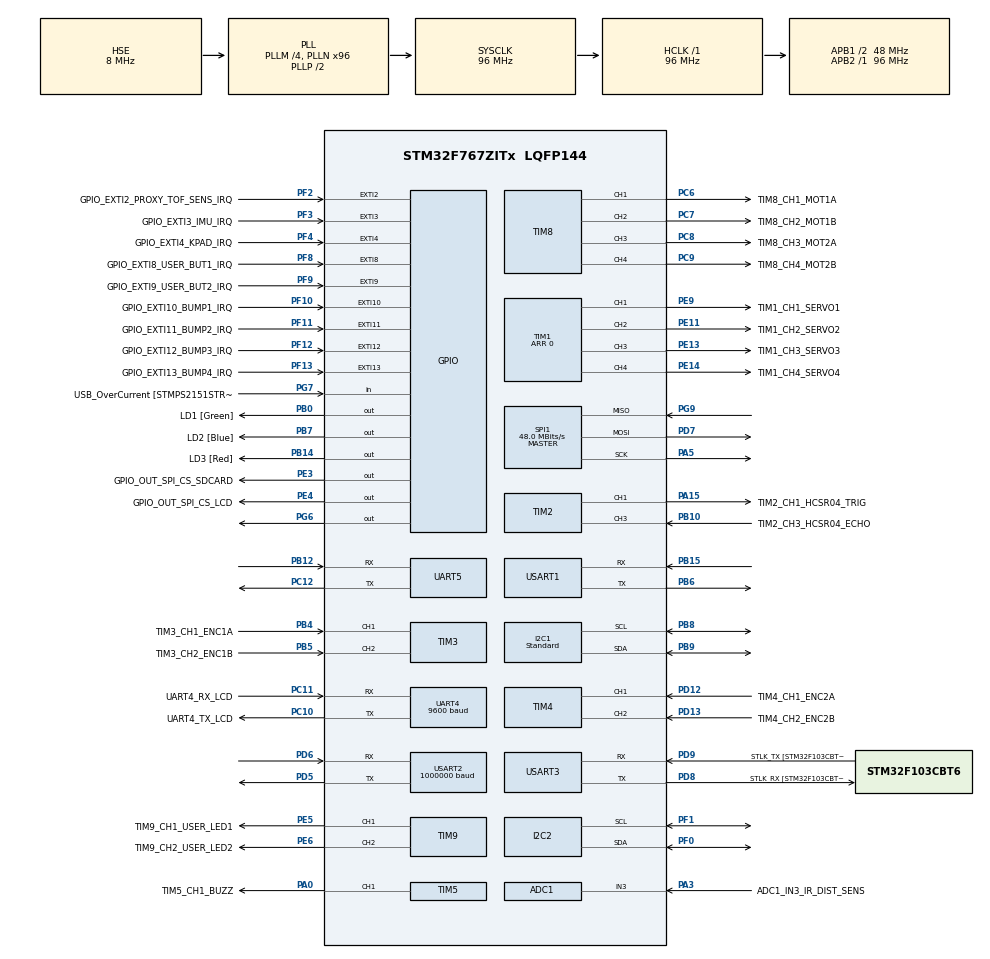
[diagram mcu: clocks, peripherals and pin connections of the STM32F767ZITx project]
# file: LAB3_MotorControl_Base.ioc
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ADC1.Channel-1\#ChannelRegularConversion=ADC_CHANNEL_3
ADC1.NbrOfConversionFlag=1
ADC1.Rank-1\#ChannelRegularConversion=1
ADC1.SamplingTime-1\#ChannelRegularConversion=ADC_SAMPLETIME_3CYCLES
ADC1.master=1
I2C1.I2C_Speed_Mode=I2C_Standard
I2C1.Timing=0x20303E5D
I2C2.Timing=0x20303E5D
Mcu.Family=STM32F7
Mcu.Name=STM32F767ZITx
Mcu.Package=LQFP144
Mcu.UserConstants=TIM3_ARR_VALUE,3839;TIM4_ARR_VALUE,3839;TIM8_PSC_VALUE,959;TIM8_ARR_VALUE,399;TIM6_PSC_VALUE,959;TIM6_ARR_VALUE,999;TIM1_PSC_VALUE,959;TIM1_ARR_VALUE,1999
NVIC.PriorityGroup=NVIC_PRIORITYGROUP_4
NVIC.TIM4_IRQn=true\:0\:0\:false\:false\:true\:true\:true\:true
NVIC.TIM6_DAC_IRQn=true\:1\:0\:true\:false\:true\:true\:true\:true
PA0/WKUP.GPIO_Label=TIM5_CH1_BUZZ
PA0/WKUP.Signal=S_TIM5_CH1
PA1.GPIO_Label=RMII_REF_CLK [LAN8742A-CZ-TR_REFCLK0]
PA1.Signal=ETH_REF_CLK
PA10.GPIO_Label=USB_ID
PA10.Signal=USB_OTG_FS_ID
PA11.GPIO_Label=USB_DM
PA11.Signal=USB_OTG_FS_DM
PA12.GPIO_Label=USB_DP
PA12.Signal=USB_OTG_FS_DP
PA13.GPIO_Label=TMS
PA13.Mode=Serial_Wire
PA13.Signal=SYS_JTMS-SWDIO
PA14.GPIO_Label=TCK
PA14.Mode=Serial_Wire
PA14.Signal=SYS_JTCK-SWCLK
PA15.GPIO_Label=TIM2_CH1_HCSR04_TRIG
PA15.Signal=S_TIM2_CH1_ETR
PA2.GPIO_Label=RMII_MDIO [LAN8742A-CZ-TR_MDIO]
PA2.Signal=ETH_MDIO
PA3.GPIO_Label=ADC1_IN3_IR_DIST_SENS
PA3.Signal=ADCx_IN3
PA5.Mode=Full_Duplex_Master
PA5.Signal=SPI1_SCK
PA7.GPIO_Label=RMII_CRS_DV [LAN8742A-CZ-TR_CRS_DV]
PA7.Signal=ETH_CRS_DV
PA8.GPIO_Label=USB_SOF [TP1]
PA8.Signal=USB_OTG_FS_SOF
PA9.GPIO_Label=USB_VBUS
PA9.Signal=USB_OTG_FS_VBUS
PB0.GPIO_Label=LD1 [Green]
PB0.Signal=GPIO_Output
PB10.GPIO_Label=TIM2_CH3_HCSR04_ECHO
PB10.Signal=S_TIM2_CH3
PB12.Mode=Asynchronous
PB12.Signal=UART5_RX
PB13.GPIO_Label=RMII_TXD1 [LAN8742A-CZ-TR_TXD1]
PB13.Signal=ETH_TXD1
PB14.GPIO_Label=LD3 [Red]
PB14.Signal=GPIO_Output
PB15.Mode=Asynchronous
PB15.Signal=USART1_RX
PB3.GPIO_Label=SWO
PB3.Signal=SYS_JTDO-SWO
PB4.GPIO_Label=TIM3_CH1_ENC1A
PB4.Signal=S_TIM3_CH1
PB5.GPIO_Label=TIM3_CH2_ENC1B
PB5.Signal=S_TIM3_CH2
PB6.Mode=Asynchronous
PB6.Signal=USART1_TX
PB7.GPIO_Label=LD2 [Blue]
PB7.Signal=GPIO_Output
PB8.GPIO_Pu=GPIO_PULLUP
PB8.Mode=I2C
PB8.Signal=I2C1_SCL
PB9.GPIO_Pu=GPIO_PULLUP
PB9.Mode=I2C
PB9.Signal=I2C1_SDA
PC1.GPIO_Label=RMII_MDC [LAN8742A-CZ-TR_MDC]
PC1.Signal=ETH_MDC
PC10.GPIO_Label=UART4_TX_LCD
PC10.Mode=Asynchronous
PC10.Signal=UART4_TX
PC11.GPIO_Label=UART4_RX_LCD
PC11.Mode=Asynchronous
PC11.Signal=UART4_RX
PC12.Mode=Asynchronous
PC12.Signal=UART5_TX
PC14/OSC32_IN.Mode=LSE-External-Oscillator
PC14/OSC32_IN.Signal=RCC_OSC32_IN
PC15/OSC32_OUT.Mode=LSE-External-Oscillator
PC15/OSC32_OUT.Signal=RCC_OSC32_OUT
PC4.GPIO_Label=RMII_RXD0 [LAN8742A-CZ-TR_RXD0]
PC4.Signal=ETH_RXD0
PC5.GPIO_Label=RMII_RXD1 [LAN8742A-CZ-TR_RXD1]
PC5.Signal=ETH_RXD1
PC6.GPIO_Label=TIM8_CH1_MOT1A
PC6.Signal=S_TIM8_CH1
PC7.GPIO_Label=TIM8_CH2_MOT1B
PC7.Signal=S_TIM8_CH2
PC8.GPIO_Label=TIM8_CH3_MOT2A
PC8.Signal=S_TIM8_CH3
PC9.GPIO_Label=TIM8_CH4_MOT2B
PC9.Signal=S_TIM8_CH4
PD12.GPIO_Label=TIM4_CH1_ENC2A
PD12.Signal=S_TIM4_CH1
PD13.GPIO_Label=TIM4_CH2_ENC2B
PD13.Signal=S_TIM4_CH2
PD5.Mode=Asynchronous
PD5.Signal=USART2_TX
PD6.Mode=Asynchronous
PD6.Signal=USART2_RX
PD7.Mode=Full_Duplex_Master
PD7.Signal=SPI1_MOSI
PD8.GPIO_Label=STLK_RX [STM32F103CBT6_PA3]
PD8.Mode=Asynchronous
PD8.Signal=USART3_TX
PD9.GPIO_Label=STLK_TX [STM32F103CBT6_PA2]
PD9.Mode=Asynchronous
PD9.Signal=USART3_RX
PE11.GPIO_Label=TIM1_CH2_SERVO2
PE11.Signal=S_TIM1_CH2
PE13.GPIO_Label=TIM1_CH3_SERVO3
PE13.Signal=S_TIM1_CH3
PE14.GPIO_Label=TIM1_CH4_SERVO4
PE14.Signal=S_TIM1_CH4
PE3.GPIO_Label=GPIO_OUT_SPI_CS_SDCARD
PE3.Signal=GPIO_Output
PE4.GPIO_Label=GPIO_OUT_SPI_CS_LCD
PE4.Signal=GPIO_Output
PE5.GPIO_Label=TIM9_CH1_USER_LED1
PE5.Signal=S_TIM9_CH1
PE6.GPIO_Label=TIM9_CH2_USER_LED2
PE6.Signal=S_TIM9_CH2
PE9.GPIO_Label=TIM1_CH1_SERVO1
PE9.Signal=S_TIM1_CH1
PF0.GPIO_Pu=GPIO_PULLUP
PF0.Mode=I2C
PF0.Signal=I2C2_SDA
PF1.GPIO_Pu=GPIO_PULLUP
PF1.Mode=I2C
PF1.Signal=I2C2_SCL
PF10.GPIO_Label=GPIO_EXTI10_BUMP1_IRQ
PF10.Signal=GPXTI10
PF11.GPIO_Label=GPIO_EXTI11_BUMP2_IRQ
PF11.Signal=GPXTI11
PF12.GPIO_Label=GPIO_EXTI12_BUMP3_IRQ
PF12.Signal=GPXTI12
PF13.GPIO_Label=GPIO_EXTI13_BUMP4_IRQ
PF13.Signal=GPXTI13
PF2.GPIO_Label=GPIO_EXTI2_PROXY_TOF_SENS_IRQ
PF2.Signal=GPXTI2
PF3.GPIO_Label=GPIO_EXTI3_IMU_IRQ
PF3.Signal=GPXTI3
PF4.GPIO_Label=GPIO_EXTI4_KPAD_IRQ
PF4.Signal=GPXTI4
PF8.GPIO_Label=GPIO_EXTI8_USER_BUT1_IRQ
PF8.Signal=GPXTI8
PF9.GPIO_Label=GPIO_EXTI9_USER_BUT2_IRQ
PF9.Signal=GPXTI9
PG11.GPIO_Label=RMII_TX_EN [LAN8742A-CZ-TR_TXEN]
PG11.Signal=ETH_TX_EN
PG13.GPIO_Label=RMII_TXD0 [LAN8742A-CZ-TR_TXD0]
PG13.Signal=ETH_TXD0
PG6.Signal=GPIO_Output
PG7.GPIO_Label=USB_OverCurrent [STMPS2151STR_FAULT]
PG7.Signal=GPIO_Input
PG9.Mode=Full_Duplex_Master
PG9.Signal=SPI1_MISO
PH0/OSC_IN.GPIO_Label=MCO [STM32F103CBT6_PA8]
PH0/OSC_IN.Mode=HSE-External-Clock-Source
PH0/OSC_IN.Signal=RCC_OSC_IN
PH1/OSC_OUT.Mode=HSE-External-Clock-Source
PH1/OSC_OUT.Signal=RCC_OSC_OUT
ProjectManager.HeapSize=0x200
ProjectManager.StackSize=0x400
ProjectManager.TargetToolchain=STM32CubeIDE
RCC.48MHZClocksFreq_Value=24000000
RCC.AHBFreq_Value=96000000
RCC.APB1CLKDivider=RCC_HCLK_DIV2
RCC.APB1Freq_Value=48000000
RCC.APB1TimFreq_Value=96000000
RCC.APB2Freq_Value=96000000
RCC.APB2TimFreq_Value=96000000
RCC.CortexFreq_Value=96000000
RCC.HCLKFreq_Value=96000000
RCC.HSE_VALUE=8000000
RCC.HSI_VALUE=16000000
RCC.PLLM=4
RCC.PLLMUL=RCC_PLL_MUL9
RCC.PLLN=96
RCC.PLLQ=4
RCC.PLLSourceVirtual=RCC_PLLSOURCE_HSE
RCC.PRESCALERUSB=RCC_USBCLKSOURCE_PLL_DIV1_5
RCC.SYSCLKFreq_VALUE=96000000
RCC.SYSCLKSource=RCC_SYSCLKSOURCE_PLLCLK
RCC.SYSCLKSourceVirtual=RCC_SYSCLKSOURCE_PLLCLK
RCC.USBFreq_Value=48000000
RCC.VCOOutputFreq_Value=192000000
SH.ADCx_IN3.0=ADC1_IN3,IN3
SH.S_TIM1_CH1.0=TIM1_CH1,Forced Output1 CH1
SH.S_TIM1_CH2.0=TIM1_CH2,Forced Output2 CH2
SH.S_TIM1_CH3.0=TIM1_CH3,Forced Output3 CH3
SH.S_TIM1_CH4.0=TIM1_CH4,Forced Output4 CH4
SH.S_TIM2_CH1_ETR.0=TIM2_CH1,PWM Generation1 CH1
SH.S_TIM2_CH3.0=TIM2_CH3,Input_Capture3_from_TI3
SH.S_TIM3_CH1.0=TIM3_CH1,Encoder_Interface
SH.S_TIM3_CH2.0=TIM3_CH2,Encoder_Interface
SH.S_TIM4_CH1.0=TIM4_CH1,Encoder_Interface
SH.S_TIM4_CH2.0=TIM4_CH2,Encoder_Interface
SH.S_TIM5_CH1.0=TIM5_CH1,PWM Generation1 CH1
SH.S_TIM8_CH1.0=TIM8_CH1,PWM Generation1 CH1
SH.S_TIM8_CH2.0=TIM8_CH2,PWM Generation2 CH2
SH.S_TIM8_CH3.0=TIM8_CH3,PWM Generation3 CH3
SH.S_TIM8_CH4.0=TIM8_CH4,PWM Generation4 CH4
SH.S_TIM9_CH1.0=TIM9_CH1,PWM Generation1 CH1
SH.S_TIM9_CH2.0=TIM9_CH2,PWM Generation2 CH2
SPI1.CalculateBaudRate=48.0 MBits/s
SPI1.Direction=SPI_DIRECTION_2LINES
SPI1.Mode=SPI_MODE_MASTER
SPI1.VirtualType=VM_MASTER
TIM1.Channel-Forced\ Output1\ CH1=TIM_CHANNEL_1
TIM1.Channel-Forced\ Output2\ CH2=TIM_CHANNEL_2
TIM1.Channel-Forced\ Output3\ CH3=TIM_CHANNEL_3
TIM1.Channel-Forced\ Output4\ CH4=TIM_CHANNEL_4
TIM1.OCPolarity_1=TIM_OCPOLARITY_LOW
TIM1.OCPolarity_2=TIM_OCPOLARITY_LOW
TIM1.OCPolarity_3=TIM_OCPOLARITY_LOW
TIM1.OCPolarity_4=TIM_OCPOLARITY_LOW
TIM1.Period=0
TIM2.Channel-Input_Capture3_from_TI3=TIM_CHANNEL_3
TIM2.Channel-PWM\ Generation1\ CH1=TIM_CHANNEL_1
TIM3.EncoderMode=TIM_ENCODERMODE_TI12
TIM3.IC1Filter=15
TIM3.IC2Filter=15
TIM3.Period=TIM3_ARR_VALUE
TIM4.EncoderMode=TIM_ENCODERMODE_TI12
TIM4.IC1Filter=15
TIM4.IC2Filter=15
TIM4.Period=TIM4_ARR_VALUE
TIM5.Channel-PWM\ Generation1\ CH1=TIM_CHANNEL_1
TIM6.Period=TIM6_ARR_VALUE
TIM6.Prescaler=TIM6_PSC_VALUE
TIM8.Channel-PWM\ Generation1\ CH1=TIM_CHANNEL_1
TIM8.Channel-PWM\ Generation2\ CH2=TIM_CHANNEL_2
TIM8.Channel-PWM\ Generation3\ CH3=TIM_CHANNEL_3
TIM8.Channel-PWM\ Generation4\ CH4=TIM_CHANNEL_4
TIM8.Period=TIM8_ARR_VALUE
TIM8.Prescaler=TIM8_PSC_VALUE
TIM9.Channel-PWM\ Generation1\ CH1=TIM_CHANNEL_1
TIM9.Channel-PWM\ Generation2\ CH2=TIM_CHANNEL_2
UART4.BaudRate=9600
USART1.VirtualMode-Asynchronous=VM_ASYNC
USART2.BaudRate=1000000
USART2.VirtualMode-Asynchronous=VM_ASYNC
USART3.VirtualMode-Asynchronous=VM_ASYNC
VP_TIM1_VS_ClockSourceINT.Mode=Internal
VP_TIM2_VS_ClockSourceINT.Mode=Internal
VP_TIM5_VS_ClockSourceINT.Mode=Internal
VP_TIM6_VS_ClockSourceINT.Mode=Enable_Timer
VP_TIM8_VS_ClockSourceINT.Mode=Internal
board=NUCLEO-F767ZI

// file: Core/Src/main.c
/* USER CODE BEGIN Header */
/**
  ******************************************************************************
  * @file           : main.c
  * @brief          : Main program body
  ******************************************************************************
  * @attention
  *
  * <h2><center>&copy; Copyright (c) 2021 STMicroelectronics.
  * All rights reserved.</center></h2>
  *
  * This software component is licensed by ST under BSD 3-Clause license,
  * the "License"; You may not use this file except in compliance with the
  * License. You may obtain a copy of the License at:
  *                        opensource.org/licenses/BSD-3-Clause
  *
  ******************************************************************************
  */
/* USER CODE END Header */
#include "main.h"

/* USER CODE BEGIN Includes */
#include <math.h>
#include <stdbool.h>
#include <stdlib.h>
#include "ertc-datalogger.h"
#include "SX1509_Registers.h"
/* USER CODE END Includes */

/* USER CODE BEGIN PD */
//#define	HAL_TIMEOUT		1
#define TS	0.01

#define VBATT	8.0
#define V2DUTY	((float)(TIM8_ARR_VALUE+1)/VBATT)
#define DUTY2V	((float)VBATT/(TIM8_ARR_VALUE+1))

#define RPM2RADS	2.0*M_PI/60.0
/* USER CODE END PD */

ADC_HandleTypeDef hadc1;

I2C_HandleTypeDef hi2c1;
I2C_HandleTypeDef hi2c2;

SPI_HandleTypeDef hspi1;

TIM_HandleTypeDef htim1;
TIM_HandleTypeDef htim2;
TIM_HandleTypeDef htim3;
TIM_HandleTypeDef htim4;
TIM_HandleTypeDef htim5;
TIM_HandleTypeDef htim6;
TIM_HandleTypeDef htim8;
TIM_HandleTypeDef htim9;

UART_HandleTypeDef huart4;
UART_HandleTypeDef huart5;
UART_HandleTypeDef huart1;
UART_HandleTypeDef huart2;
UART_HandleTypeDef huart3;

/* USER CODE BEGIN PV */
struct ertc_dlog logger;

uint16_t SX1509_I2C_ADDR1 = 0x3E;
uint16_t SX1509_I2C_ADDR2 = 0x3F;
uint32_t I2C_TIMEOUT = 200;

const char keypadLayout[4][4] = {
    {'*', '0', '#', 'D'},
    {'7', '8', '9', 'C'},
    {'4', '5', '6', 'B'},
    {'1', '2', '3', 'A'}};
/* USER CODE END PV */

void SystemClock_Config(void);
static void MX_GPIO_Init(void);
static void MX_USART3_UART_Init(void);
static void MX_ADC1_Init(void);
static void MX_I2C1_Init(void);
static void MX_I2C2_Init(void);
static void MX_SPI1_Init(void);
static void MX_TIM1_Init(void);
static void MX_TIM2_Init(void);
static void MX_TIM3_Init(void);
static void MX_TIM4_Init(void);
static void MX_TIM5_Init(void);
static void MX_TIM8_Init(void);
static void MX_UART4_Init(void);
static void MX_UART5_Init(void);
static void MX_USART1_UART_Init(void);
static void MX_USART2_UART_Init(void);
static void MX_TIM9_Init(void);
static void MX_TIM6_Init(void);
/* USER CODE BEGIN PFP */
extern void initialise_monitor_handles(void);
/* USER CODE END PFP */

/* USER CODE BEGIN 0 */

/* ---------------------------------------- */
/*      DYNAMIC SPEED CONTROL SECTION       */
/* ---------------------------------------- */

float reference = 0.0;
int values[5];					// maximum 5 digits, i.e. all values from 0 to 99999
int counter = 0;				// counter for the values array

uint8_t extractIndex(uint8_t byte_sequence) {
	int k = 0;
	while ((byte_sequence & 1) != 1) {
		byte_sequence >>= 1;
		k++;
	}

	return k;
}

void HAL_GPIO_EXTI_Callback(uint16_t GPIO_Pin) {

	//printf("Interrupt on pin (%d).\n", GPIO_Pin);
	/* your code here */

	if (GPIO_Pin == GPIO_EXTI4_KPAD_IRQ_Pin) {

		uint8_t data_column;
		uint8_t data_row;
		HAL_StatusTypeDef status;

		// Read key data
		status = HAL_I2C_Mem_Read(&hi2c1, SX1509_I2C_ADDR2 << 1, REG_KEY_DATA_1, 1, &data_column, 1, I2C_TIMEOUT);
		if (status != HAL_OK) {
			//printf("I2C communication error (%X).\n", status);
			return;
		}

		status = HAL_I2C_Mem_Read(&hi2c1, SX1509_I2C_ADDR2 << 1, REG_KEY_DATA_2, 1, &data_row, 1, I2C_TIMEOUT);
		if (status != HAL_OK) {
			//printf("I2C communication error (%X).\n", status);
			return;
		}

		// Convert key data into indexes
		uint8_t col_index = extractIndex(~data_column);
		uint8_t row_index = extractIndex(~data_row);

		char key = keypadLayout[row_index][col_index];

		//printf("The following button has been pressed: (%c).\n", key);

		if (key >= '0' && key <= '9' && counter < 5) {			// if the key is not # and the maximum number of digits is not reached
			values[counter] = key - '0';
			counter++;
		} else if (key == '#'){									// if the key is #
			int final_speed = 0;
			for (int i = 0; i < counter; i++) {
				int power = pow(10, counter-i-1);
				final_speed += values[i]*power;					// compute the final value using powers of 10
			}
			//printf("Final speed: %d rpm.\n", final_speed);
			counter = 0;
			for (int i = 0; i < 5; i++)
				values[i] = 0;

			reference = final_speed;
		} else {												// if the maximum number of digits is reached
			//printf("Maximum number of digits reached. Please insert another sequence of numbers.\n");
			counter = 0;
			for (int i = 0; i < 5; i++)
				values[i] = 0;
		}
	}

}

/* ---------------------------------------- */
/*          MOTORS CONTROL SECTION          */
/* ---------------------------------------- */

//const float Kp = 0.489;
//const float Ki = 9.033;

//const float Kp = 0.2;
//const float Ki = 3.14;

const float Kp = 0.489;		// 1
const float Ki = 3.14;
//const float Ki = 2.64;

//const float Kp = 0.522;		// 2
//const float Ki = 5.120;

//const float Kp = 0.294; 	// LAST SIMULATION 3
//const float Ki = 3.388;

//const float Kp = 0.412; 	// LAST SIMULATION
//const float Ki = 4.472;

const float Kw = 8.0; 		// 3,25,50,100

struct datalog {
	float reference_r, speed_r, error_r;
	float reference_l, speed_l, error_l;
} data;

float compute_speed(TIM_HandleTypeDef* htim, uint32_t* TIM_PreviousCount, uint32_t TIM_ARR_VALUE) {

	uint32_t TIM_CurrentCount = __HAL_TIM_GET_COUNTER(htim);
	int32_t TIM_DiffCount;

	// evaluate increment of TIM counter from previous count
	if (__HAL_TIM_IS_TIM_COUNTING_DOWN(htim)) {
		// check for counter underflow
		if (TIM_CurrentCount <= *TIM_PreviousCount)
			TIM_DiffCount = TIM_CurrentCount - *TIM_PreviousCount;
		else
			TIM_DiffCount = -((TIM_ARR_VALUE+1) - TIM_CurrentCount) - *TIM_PreviousCount;
	} else {
		// check for counter overflow
		if (TIM_CurrentCount >= *TIM_PreviousCount)
			TIM_DiffCount = TIM_CurrentCount - *TIM_PreviousCount;
		else
			TIM_DiffCount = ((TIM_ARR_VALUE+1) - *TIM_PreviousCount) + TIM_CurrentCount;
	}

	*TIM_PreviousCount = TIM_CurrentCount;

    //	Speed in RAD/S
	float speed_rads = ((2*M_PI*120)/(3840.0*TS))*(float)TIM_DiffCount;

    //	Speed in RPM
	float speed_rpm = speed_rads/RPM2RADS;

    return speed_rpm;
}

float saturate(float u, float min, float max) {
	if (u > max) return max;
	if (u < min) return min;
	return u;
}

float PI(float error, float* u_int, bool antiwindup) {
	float u_p = Kp*error;
	*u_int += Ki*error*TS;

	float u = u_p + *u_int;

	if (antiwindup) {
		float saturation = u - saturate(u, 0.1-VBATT, VBATT-0.1);
		*u_int -= saturation*Kw*TS;
		u = u_p + *u_int;
	}

	return saturate(u, 0.1-VBATT, VBATT-0.1);
}

void set_motor_speed(TIM_HandleTypeDef* htim, uint32_t channel_1, uint32_t channel_2, int32_t duty, bool fwd_coast) {
    if (duty >= 0) {
        if (fwd_coast) {
            // alternate between forward and coast
            __HAL_TIM_SET_COMPARE(htim, channel_1, (uint32_t)duty);
            __HAL_TIM_SET_COMPARE(htim, channel_2, 0);
        } else {
            // alternate between forward and brake, TIM8_ARR_VALUE is a define
            __HAL_TIM_SET_COMPARE(htim, channel_1, (uint32_t)TIM8_ARR_VALUE);
            __HAL_TIM_SET_COMPARE(htim, channel_2, TIM8_ARR_VALUE - duty);
        }
    } else { // rotate backward
        if (fwd_coast) {
            __HAL_TIM_SET_COMPARE(htim, channel_1, 0);
            __HAL_TIM_SET_COMPARE(htim, channel_2, (uint32_t) - duty);
        } else {
            __HAL_TIM_SET_COMPARE(htim, channel_1, TIM8_ARR_VALUE + duty);
            __HAL_TIM_SET_COMPARE(htim, channel_2, (uint32_t)TIM8_ARR_VALUE);
        }
    }
}

void HAL_TIM_PeriodElapsedCallback(TIM_HandleTypeDef *htim) {
	/* Speed ctrl routine */
	if(htim->Instance == TIM6) {
		// ENCODER READING
		static uint32_t TIM3_PreviousCount = 0;
		float speed_r = compute_speed(&htim3, &TIM3_PreviousCount, TIM3_ARR_VALUE);

		static uint32_t TIM4_PreviousCount = 0;
		float speed_l = compute_speed(&htim4, &TIM4_PreviousCount, TIM4_ARR_VALUE);

		// SIGNAL ERROR
		float error_r = reference - speed_r;
		float error_l = reference - speed_l;

		// CONTROLLER INPUT
		static float u_int_r = 0;
		float u_r = PI(error_r, &u_int_r, true);

		static float u_int_l = 0;
		float u_l = PI(error_l, &u_int_l, true);

		int32_t duty_r = (int32_t)V2DUTY*u_r;
		int32_t duty_l = (int32_t)V2DUTY*u_l;

		// SETTING THE MOTOR SPEED
		set_motor_speed(&htim8, TIM_CHANNEL_1, TIM_CHANNEL_2, duty_r, false);
		set_motor_speed(&htim8, TIM_CHANNEL_3, TIM_CHANNEL_4, duty_l, false);

		// LOGGING
		data.reference_r = reference;
		data.speed_r = speed_r;
		data.error_r = error_r;
		data.reference_l = reference;
		data.speed_l = speed_l;
		data.error_l = error_l;

		ertc_dlog_send(&logger, &data, sizeof(data));
	}
}

/* USER CODE END 0 */

int main(void)
{
  /* USER CODE BEGIN 1 */
  uint8_t data;
  /* USER CODE END 1 */

  /* MCU Configuration--------------------------------------------------------*/

  /* Reset of all peripherals, Initializes the Flash interface and the Systick. */
  HAL_Init();

  /* Configure the system clock */
  SystemClock_Config();

  /* USER CODE BEGIN SysInit */
  initialise_monitor_handles();
  /* USER CODE END SysInit */

  /* Initialize all configured peripherals */
  MX_GPIO_Init();
  MX_USART3_UART_Init();
  MX_ADC1_Init();
  MX_I2C1_Init();
  MX_I2C2_Init();
  MX_SPI1_Init();
  MX_TIM1_Init();
  MX_TIM2_Init();
  MX_TIM3_Init();
  MX_TIM4_Init();
  MX_TIM5_Init();
  MX_TIM8_Init();
  MX_UART4_Init();
  MX_UART5_Init();
  MX_USART1_UART_Init();
  MX_USART2_UART_Init();
  MX_TIM9_Init();
  MX_TIM6_Init();
  /* USER CODE BEGIN 2 */
  /* Disable LCD SPI SS */

  HAL_GPIO_WritePin(GPIO_OUT_SPI_CS_LCD_GPIO_Port, GPIO_OUT_SPI_CS_LCD_Pin, GPIO_PIN_SET);

  /* Disable EXTI4_IRQ during SX1509 initialization */
  HAL_NVIC_DisableIRQ(EXTI4_IRQn);

  /* Software reset */
  data = 0x12;
  HAL_I2C_Mem_Write(&hi2c1, SX1509_I2C_ADDR2 << 1, REG_RESET, 1, &data, 1, I2C_TIMEOUT);

  data = 0x34;
  HAL_I2C_Mem_Write(&hi2c1, SX1509_I2C_ADDR2 << 1, REG_RESET, 1, &data, 1, I2C_TIMEOUT);

  HAL_Delay(100);

  /* Set KeyPad scanning engine */

  /* Set RegClock to 0x40 (enable internal oscillator; 2MHz freq) */
  data = 0x40;
  HAL_I2C_Mem_Write(&hi2c1, SX1509_I2C_ADDR2 << 1, REG_CLOCK, 1, &data, 1, I2C_TIMEOUT);

  /* Set Bank A RegDir to 0xF0 (IO[0:3] as out) */
  data = 0xF0;
  HAL_I2C_Mem_Write(&hi2c1, SX1509_I2C_ADDR2 << 1, REG_DIR_A, 1, &data, 1, I2C_TIMEOUT);

  /* Set Bank B RegDir to 0x0F (IO[8:11] as in) */
  data = 0x0F;
  HAL_I2C_Mem_Write(&hi2c1, SX1509_I2C_ADDR2 << 1, REG_DIR_B, 1, &data, 1, I2C_TIMEOUT);

  /* Set Bank A RegOpenDrain to 0x0F (IO[0:3] as open-drain outputs) */
  data = 0x0F;
  HAL_I2C_Mem_Write(&hi2c1, SX1509_I2C_ADDR2 << 1, REG_OPEN_DRAIN_A, 1, &data, 1, I2C_TIMEOUT);

  /* Set Bank B RegPullup to 0x0F (pull-ups enabled on inputs IO[8:11]) */
  data = 0x0F;
  HAL_I2C_Mem_Write(&hi2c1, SX1509_I2C_ADDR2 << 1, REG_PULL_UP_B, 1, &data, 1, I2C_TIMEOUT);

  /* Set Bank B RegDebounceEnable to 0x0F (enable debouncing on IO[8:11]) */
  data = 0x0F;
  HAL_I2C_Mem_Write(&hi2c1, SX1509_I2C_ADDR2 << 1, REG_DEBOUNCE_ENABLE_B, 1, &data, 1, I2C_TIMEOUT);

  /* Set RegDebounceConfig to 0x05 (16ms debounce time) */
  data = 0x05;
  HAL_I2C_Mem_Write(&hi2c1, SX1509_I2C_ADDR2 << 1, REG_DEBOUNCE_CONFIG, 1, &data, 1, I2C_TIMEOUT);

  /* Set RegKeyConfig1 to 0x7D (8s auto-sleep; 32ms scan time per row) */
  data = 0x7D;
  HAL_I2C_Mem_Write(&hi2c1, SX1509_I2C_ADDR2 << 1, REG_KEY_CONFIG_1, 1, &data, 1, I2C_TIMEOUT);

  /* Set RegKeyConfig2 to 0x1B (4 rows; 4 columns) */
  data = 0x1B;
  HAL_I2C_Mem_Write(&hi2c1, SX1509_I2C_ADDR2 << 1, REG_KEY_CONFIG_2, 1, &data, 1, I2C_TIMEOUT);

  /* Enable EXTI4_IRQ after SX1509 initialization */
  HAL_Delay(100);
  HAL_NVIC_EnableIRQ(EXTI4_IRQn);

  /* Disable EXTI2_IRQ during SX1509 initialization */
  HAL_NVIC_DisableIRQ(EXTI2_IRQn);

  /* Software reset */
  data = 0x12;
  HAL_I2C_Mem_Write(&hi2c1, SX1509_I2C_ADDR1 << 1, REG_RESET, 1, &data, 1, I2C_TIMEOUT);

  data = 0x34;
  HAL_I2C_Mem_Write(&hi2c1, SX1509_I2C_ADDR1 << 1, REG_RESET, 1, &data, 1, I2C_TIMEOUT);

  HAL_Delay(100);

  /* Set RegDirA to 0xFF (all IO of Bank A configured as inputs) */
  data = 0xFF; // 0 = out; 1 = in
  HAL_I2C_Mem_Write(&hi2c1, SX1509_I2C_ADDR1 << 1, REG_DIR_A, 1, &data, 1, I2C_TIMEOUT);

  /* Set RegDirB to 0xFF (all IO of Bank B configured as inputs) */
  data = 0xFF; // 0 = out; 1 = in
  HAL_I2C_Mem_Write(&hi2c1, SX1509_I2C_ADDR1 << 1, REG_DIR_B, 1, &data, 1, I2C_TIMEOUT);

  /* Set RegInterruptMaskA to 0x00 (all IO of Bank A will trigger an interrupt) */
  data = 0x00;
  HAL_I2C_Mem_Write(&hi2c1, SX1509_I2C_ADDR1 << 1, REG_INTERRUPT_MASK_A, 1, &data, 1, I2C_TIMEOUT);

  /* Set RegSenseHighA to 0xAA (IO[7:4] of Bank A will trigger an interrupt on falling edge) */
  data = 0xAA;
  HAL_I2C_Mem_Write(&hi2c1, SX1509_I2C_ADDR1 << 1, REG_SENSE_HIGH_A, 1, &data, 1, I2C_TIMEOUT);

  /* Set RegSenseLowA to 0xAA (IO[3:0] of Bank A will trigger an interrupt on falling edge) */
  data = 0xAA;
  HAL_I2C_Mem_Write(&hi2c1, SX1509_I2C_ADDR1 << 1, REG_SENSE_LOW_A, 1, &data, 1, I2C_TIMEOUT);

  /* Enable EXTI2_IRQ after SX1509 initialization */
  HAL_Delay(100);
  //HAL_NVIC_EnableIRQ(EXTI2_IRQn);

  logger.uart_handle = huart3; // for serial
  //logger.uart_handle = huart2; // for wifi

  /* Reset LCD */
  HAL_GPIO_WritePin(GPIO_OUT_SPI_CS_LCD_GPIO_Port, GPIO_OUT_SPI_CS_LCD_Pin, GPIO_PIN_SET);

  HAL_Delay(1000);

  /* Start encoders timers */
  HAL_TIM_Encoder_Start(&htim3, TIM_CHANNEL_ALL);
  HAL_TIM_Encoder_Start(&htim4, TIM_CHANNEL_ALL);

  /* Start servomotors PWM (avoid floating inputs to servomotors) */
  HAL_TIM_PWM_Start(&htim1, TIM_CHANNEL_1);
  HAL_TIM_PWM_Start(&htim1, TIM_CHANNEL_2);
  HAL_TIM_PWM_Start(&htim1, TIM_CHANNEL_3);
  HAL_TIM_PWM_Start(&htim1, TIM_CHANNEL_4);

  /* Start motor PWM */
  __HAL_TIM_SET_COMPARE(&htim8, TIM_CHANNEL_1, 0);
  __HAL_TIM_SET_COMPARE(&htim8, TIM_CHANNEL_2, 0);
  __HAL_TIM_SET_COMPARE(&htim8, TIM_CHANNEL_3, 0);
  __HAL_TIM_SET_COMPARE(&htim8, TIM_CHANNEL_4, 0);

  HAL_TIM_PWM_Start(&htim8, TIM_CHANNEL_1);
  HAL_TIM_PWM_Start(&htim8, TIM_CHANNEL_2);
  HAL_TIM_PWM_Start(&htim8, TIM_CHANNEL_3);
  HAL_TIM_PWM_Start(&htim8, TIM_CHANNEL_4);

  /* Start speed ctrl ISR */
  HAL_TIM_Base_Start_IT(&htim6);
  HAL_Delay(5000);
  reference = 30.0;

  /* USER CODE END 2 */

  /* Infinite loop */
  while (1)
  {

    /* USER CODE BEGIN 3 */
	  ertc_dlog_update(&logger);

  }
  /* USER CODE END 3 */
}

void SystemClock_Config(void)
{
  RCC_OscInitTypeDef RCC_OscInitStruct = {0};
  RCC_ClkInitTypeDef RCC_ClkInitStruct = {0};

  /** Configure LSE Drive Capability
  */
  HAL_PWR_EnableBkUpAccess();

  /** Configure the main internal regulator output voltage
  */
  __HAL_RCC_PWR_CLK_ENABLE();
  __HAL_PWR_VOLTAGESCALING_CONFIG(PWR_REGULATOR_VOLTAGE_SCALE3);

  /** Initializes the RCC Oscillators according to the specified parameters
  * in the RCC_OscInitTypeDef structure.
  */
  RCC_OscInitStruct.OscillatorType = RCC_OSCILLATORTYPE_HSE;
  RCC_OscInitStruct.HSEState = RCC_HSE_BYPASS;
  RCC_OscInitStruct.PLL.PLLState = RCC_PLL_ON;
  RCC_OscInitStruct.PLL.PLLSource = RCC_PLLSOURCE_HSE;
  RCC_OscInitStruct.PLL.PLLM = 4;
  RCC_OscInitStruct.PLL.PLLN = 96;
  RCC_OscInitStruct.PLL.PLLP = RCC_PLLP_DIV2;
  RCC_OscInitStruct.PLL.PLLQ = 4;
  RCC_OscInitStruct.PLL.PLLR = 2;
  if (HAL_RCC_OscConfig(&RCC_OscInitStruct) != HAL_OK)
  {
    Error_Handler();
  }

  /** Activate the Over-Drive mode
  */
  if (HAL_PWREx_EnableOverDrive() != HAL_OK)
  {
    Error_Handler();
  }

  /** Initializes the CPU, AHB and APB buses clocks
  */
  RCC_ClkInitStruct.ClockType = RCC_CLOCKTYPE_HCLK|RCC_CLOCKTYPE_SYSCLK
                              |RCC_CLOCKTYPE_PCLK1|RCC_CLOCKTYPE_PCLK2;
  RCC_ClkInitStruct.SYSCLKSource = RCC_SYSCLKSOURCE_PLLCLK;
  RCC_ClkInitStruct.AHBCLKDivider = RCC_SYSCLK_DIV1;
  RCC_ClkInitStruct.APB1CLKDivider = RCC_HCLK_DIV2;
  RCC_ClkInitStruct.APB2CLKDivider = RCC_HCLK_DIV1;

  if (HAL_RCC_ClockConfig(&RCC_ClkInitStruct, FLASH_LATENCY_3) != HAL_OK)
  {
    Error_Handler();
  }
}

static void MX_ADC1_Init(void)
{

  ADC_ChannelConfTypeDef sConfig = {0};

  /** Configure the global features of the ADC (Clock, Resolution, Data Alignment and number of conversion)
  */
  hadc1.Instance = ADC1;
  hadc1.Init.ClockPrescaler = ADC_CLOCK_SYNC_PCLK_DIV4;
  hadc1.Init.Resolution = ADC_RESOLUTION_12B;
  hadc1.Init.ScanConvMode = ADC_SCAN_DISABLE;
  hadc1.Init.ContinuousConvMode = DISABLE;
  hadc1.Init.DiscontinuousConvMode = DISABLE;
  hadc1.Init.ExternalTrigConvEdge = ADC_EXTERNALTRIGCONVEDGE_NONE;
  hadc1.Init.ExternalTrigConv = ADC_SOFTWARE_START;
  hadc1.Init.DataAlign = ADC_DATAALIGN_RIGHT;
  hadc1.Init.NbrOfConversion = 1;
  hadc1.Init.DMAContinuousRequests = DISABLE;
  hadc1.Init.EOCSelection = ADC_EOC_SINGLE_CONV;
  if (HAL_ADC_Init(&hadc1) != HAL_OK)
  {
    Error_Handler();
  }

  /** Configure for the selected ADC regular channel its corresponding rank in the sequencer and its sample time.
  */
  sConfig.Channel = ADC_CHANNEL_3;
  sConfig.Rank = ADC_REGULAR_RANK_1;
  sConfig.SamplingTime = ADC_SAMPLETIME_3CYCLES;
  if (HAL_ADC_ConfigChannel(&hadc1, &sConfig) != HAL_OK)
  {
    Error_Handler();
  }

}

static void MX_I2C1_Init(void)
{

  hi2c1.Instance = I2C1;
  hi2c1.Init.Timing = 0x20303E5D;
  hi2c1.Init.OwnAddress1 = 0;
  hi2c1.Init.AddressingMode = I2C_ADDRESSINGMODE_7BIT;
  hi2c1.Init.DualAddressMode = I2C_DUALADDRESS_DISABLE;
  hi2c1.Init.OwnAddress2 = 0;
  hi2c1.Init.OwnAddress2Masks = I2C_OA2_NOMASK;
  hi2c1.Init.GeneralCallMode = I2C_GENERALCALL_DISABLE;
  hi2c1.Init.NoStretchMode = I2C_NOSTRETCH_DISABLE;
  if (HAL_I2C_Init(&hi2c1) != HAL_OK)
  {
    Error_Handler();
  }

  /** Configure Analogue filter
  */
  if (HAL_I2CEx_ConfigAnalogFilter(&hi2c1, I2C_ANALOGFILTER_ENABLE) != HAL_OK)
  {
    Error_Handler();
  }

  /** Configure Digital filter
  */
  if (HAL_I2CEx_ConfigDigitalFilter(&hi2c1, 0) != HAL_OK)
  {
    Error_Handler();
  }

}

static void MX_I2C2_Init(void)
{

  hi2c2.Instance = I2C2;
  hi2c2.Init.Timing = 0x20303E5D;
  hi2c2.Init.OwnAddress1 = 0;
  hi2c2.Init.AddressingMode = I2C_ADDRESSINGMODE_7BIT;
  hi2c2.Init.DualAddressMode = I2C_DUALADDRESS_DISABLE;
  hi2c2.Init.OwnAddress2 = 0;
  hi2c2.Init.OwnAddress2Masks = I2C_OA2_NOMASK;
  hi2c2.Init.GeneralCallMode = I2C_GENERALCALL_DISABLE;
  hi2c2.Init.NoStretchMode = I2C_NOSTRETCH_DISABLE;
  if (HAL_I2C_Init(&hi2c2) != HAL_OK)
  {
    Error_Handler();
  }

  /** Configure Analogue filter
  */
  if (HAL_I2CEx_ConfigAnalogFilter(&hi2c2, I2C_ANALOGFILTER_ENABLE) != HAL_OK)
  {
    Error_Handler();
  }

  /** Configure Digital filter
  */
  if (HAL_I2CEx_ConfigDigitalFilter(&hi2c2, 0) != HAL_OK)
  {
    Error_Handler();
  }

}

static void MX_SPI1_Init(void)
{

  /* SPI1 parameter configuration*/
  hspi1.Instance = SPI1;
  hspi1.Init.Mode = SPI_MODE_MASTER;
  hspi1.Init.Direction = SPI_DIRECTION_2LINES;
  hspi1.Init.DataSize = SPI_DATASIZE_4BIT;
  hspi1.Init.CLKPolarity = SPI_POLARITY_LOW;
  hspi1.Init.CLKPhase = SPI_PHASE_1EDGE;
  hspi1.Init.NSS = SPI_NSS_SOFT;
  hspi1.Init.BaudRatePrescaler = SPI_BAUDRATEPRESCALER_2;
  hspi1.Init.FirstBit = SPI_FIRSTBIT_MSB;
  hspi1.Init.TIMode = SPI_TIMODE_DISABLE;
  hspi1.Init.CRCCalculation = SPI_CRCCALCULATION_DISABLE;
  hspi1.Init.CRCPolynomial = 7;
  hspi1.Init.CRCLength = SPI_CRC_LENGTH_DATASIZE;
  hspi1.Init.NSSPMode = SPI_NSS_PULSE_ENABLE;
  if (HAL_SPI_Init(&hspi1) != HAL_OK)
  {
    Error_Handler();
  }

}

static void MX_TIM1_Init(void)
{

  TIM_ClockConfigTypeDef sClockSourceConfig = {0};
  TIM_MasterConfigTypeDef sMasterConfig = {0};
  TIM_OC_InitTypeDef sConfigOC = {0};
  TIM_BreakDeadTimeConfigTypeDef sBreakDeadTimeConfig = {0};

  htim1.Instance = TIM1;
  htim1.Init.Prescaler = 0;
  htim1.Init.CounterMode = TIM_COUNTERMODE_UP;
  htim1.Init.Period = 0;
  htim1.Init.ClockDivision = TIM_CLOCKDIVISION_DIV1;
  htim1.Init.RepetitionCounter = 0;
  htim1.Init.AutoReloadPreload = TIM_AUTORELOAD_PRELOAD_DISABLE;
  if (HAL_TIM_Base_Init(&htim1) != HAL_OK)
  {
    Error_Handler();
  }
  sClockSourceConfig.ClockSource = TIM_CLOCKSOURCE_INTERNAL;
  if (HAL_TIM_ConfigClockSource(&htim1, &sClockSourceConfig) != HAL_OK)
  {
    Error_Handler();
  }
  if (HAL_TIM_OC_Init(&htim1) != HAL_OK)
  {
    Error_Handler();
  }
  sMasterConfig.MasterOutputTrigger = TIM_TRGO_RESET;
  sMasterConfig.MasterOutputTrigger2 = TIM_TRGO2_RESET;
  sMasterConfig.MasterSlaveMode = TIM_MASTERSLAVEMODE_DISABLE;
  if (HAL_TIMEx_MasterConfigSynchronization(&htim1, &sMasterConfig) != HAL_OK)
  {
    Error_Handler();
  }
  sConfigOC.OCMode = TIM_OCMODE_FORCED_ACTIVE;
  sConfigOC.Pulse = 0;
  sConfigOC.OCPolarity = TIM_OCPOLARITY_LOW;
  sConfigOC.OCNPolarity = TIM_OCNPOLARITY_HIGH;
  sConfigOC.OCFastMode = TIM_OCFAST_DISABLE;
  sConfigOC.OCIdleState = TIM_OCIDLESTATE_RESET;
  sConfigOC.OCNIdleState = TIM_OCNIDLESTATE_RESET;
  if (HAL_TIM_OC_ConfigChannel(&htim1, &sConfigOC, TIM_CHANNEL_1) != HAL_OK)
  {
    Error_Handler();
  }
  if (HAL_TIM_OC_ConfigChannel(&htim1, &sConfigOC, TIM_CHANNEL_2) != HAL_OK)
  {
    Error_Handler();
  }
  if (HAL_TIM_OC_ConfigChannel(&htim1, &sConfigOC, TIM_CHANNEL_3) != HAL_OK)
  {
    Error_Handler();
  }
  if (HAL_TIM_OC_ConfigChannel(&htim1, &sConfigOC, TIM_CHANNEL_4) != HAL_OK)
  {
    Error_Handler();
  }
  sBreakDeadTimeConfig.OffStateRunMode = TIM_OSSR_DISABLE;
  sBreakDeadTimeConfig.OffStateIDLEMode = TIM_OSSI_DISABLE;
  sBreakDeadTimeConfig.LockLevel = TIM_LOCKLEVEL_OFF;
  sBreakDeadTimeConfig.DeadTime = 0;
  sBreakDeadTimeConfig.BreakState = TIM_BREAK_DISABLE;
  sBreakDeadTimeConfig.BreakPolarity = TIM_BREAKPOLARITY_HIGH;
  sBreakDeadTimeConfig.BreakFilter = 0;
  sBreakDeadTimeConfig.Break2State = TIM_BREAK2_DISABLE;
  sBreakDeadTimeConfig.Break2Polarity = TIM_BREAK2POLARITY_HIGH;
  sBreakDeadTimeConfig.Break2Filter = 0;
  sBreakDeadTimeConfig.AutomaticOutput = TIM_AUTOMATICOUTPUT_DISABLE;
  if (HAL_TIMEx_ConfigBreakDeadTime(&htim1, &sBreakDeadTimeConfig) != HAL_OK)
  {
    Error_Handler();
  }
  HAL_TIM_MspPostInit(&htim1);

}

static void MX_TIM2_Init(void)
{

  TIM_ClockConfigTypeDef sClockSourceConfig = {0};
  TIM_MasterConfigTypeDef sMasterConfig = {0};
  TIM_OC_InitTypeDef sConfigOC = {0};
  TIM_IC_InitTypeDef sConfigIC = {0};

  htim2.Instance = TIM2;
  htim2.Init.Prescaler = 0;
  htim2.Init.CounterMode = TIM_COUNTERMODE_UP;
  htim2.Init.Period = 4294967295;
  htim2.Init.ClockDivision = TIM_CLOCKDIVISION_DIV1;
  htim2.Init.AutoReloadPreload = TIM_AUTORELOAD_PRELOAD_DISABLE;
  if (HAL_TIM_Base_Init(&htim2) != HAL_OK)
  {
    Error_Handler();
  }
  sClockSourceConfig.ClockSource = TIM_CLOCKSOURCE_INTERNAL;
  if (HAL_TIM_ConfigClockSource(&htim2, &sClockSourceConfig) != HAL_OK)
  {
    Error_Handler();
  }
  if (HAL_TIM_PWM_Init(&htim2) != HAL_OK)
  {
    Error_Handler();
  }
  if (HAL_TIM_IC_Init(&htim2) != HAL_OK)
  {
    Error_Handler();
  }
  sMasterConfig.MasterOutputTrigger = TIM_TRGO_RESET;
  sMasterConfig.MasterSlaveMode = TIM_MASTERSLAVEMODE_DISABLE;
  if (HAL_TIMEx_MasterConfigSynchronization(&htim2, &sMasterConfig) != HAL_OK)
  {
    Error_Handler();
  }
  sConfigOC.OCMode = TIM_OCMODE_PWM1;
  sConfigOC.Pulse = 0;
  sConfigOC.OCPolarity = TIM_OCPOLARITY_HIGH;
  sConfigOC.OCFastMode = TIM_OCFAST_DISABLE;
  if (HAL_TIM_PWM_ConfigChannel(&htim2, &sConfigOC, TIM_CHANNEL_1) != HAL_OK)
  {
    Error_Handler();
  }
  sConfigIC.ICPolarity = TIM_INPUTCHANNELPOLARITY_RISING;
  sConfigIC.ICSelection = TIM_ICSELECTION_DIRECTTI;
  sConfigIC.ICPrescaler = TIM_ICPSC_DIV1;
  sConfigIC.ICFilter = 0;
  if (HAL_TIM_IC_ConfigChannel(&htim2, &sConfigIC, TIM_CHANNEL_3) != HAL_OK)
  {
    Error_Handler();
  }
  HAL_TIM_MspPostInit(&htim2);

}

static void MX_TIM3_Init(void)
{

  TIM_Encoder_InitTypeDef sConfig = {0};
  TIM_MasterConfigTypeDef sMasterConfig = {0};

  htim3.Instance = TIM3;
  htim3.Init.Prescaler = 0;
  htim3.Init.CounterMode = TIM_COUNTERMODE_UP;
  htim3.Init.Period = TIM3_ARR_VALUE;
  htim3.Init.ClockDivision = TIM_CLOCKDIVISION_DIV1;
  htim3.Init.AutoReloadPreload = TIM_AUTORELOAD_PRELOAD_DISABLE;
  sConfig.EncoderMode = TIM_ENCODERMODE_TI12;
  sConfig.IC1Polarity = TIM_ICPOLARITY_RISING;
  sConfig.IC1Selection = TIM_ICSELECTION_DIRECTTI;
  sConfig.IC1Prescaler = TIM_ICPSC_DIV1;
  sConfig.IC1Filter = 15;
  sConfig.IC2Polarity = TIM_ICPOLARITY_RISING;
  sConfig.IC2Selection = TIM_ICSELECTION_DIRECTTI;
  sConfig.IC2Prescaler = TIM_ICPSC_DIV1;
  sConfig.IC2Filter = 15;
  if (HAL_TIM_Encoder_Init(&htim3, &sConfig) != HAL_OK)
  {
    Error_Handler();
  }
  sMasterConfig.MasterOutputTrigger = TIM_TRGO_RESET;
  sMasterConfig.MasterSlaveMode = TIM_MASTERSLAVEMODE_DISABLE;
  if (HAL_TIMEx_MasterConfigSynchronization(&htim3, &sMasterConfig) != HAL_OK)
  {
    Error_Handler();
  }

}

static void MX_TIM4_Init(void)
{

  TIM_Encoder_InitTypeDef sConfig = {0};
  TIM_MasterConfigTypeDef sMasterConfig = {0};

  htim4.Instance = TIM4;
  htim4.Init.Prescaler = 0;
  htim4.Init.CounterMode = TIM_COUNTERMODE_UP;
  htim4.Init.Period = TIM4_ARR_VALUE;
  htim4.Init.ClockDivision = TIM_CLOCKDIVISION_DIV1;
  htim4.Init.AutoReloadPreload = TIM_AUTORELOAD_PRELOAD_DISABLE;
  sConfig.EncoderMode = TIM_ENCODERMODE_TI12;
  sConfig.IC1Polarity = TIM_ICPOLARITY_RISING;
  sConfig.IC1Selection = TIM_ICSELECTION_DIRECTTI;
  sConfig.IC1Prescaler = TIM_ICPSC_DIV1;
  sConfig.IC1Filter = 15;
  sConfig.IC2Polarity = TIM_ICPOLARITY_RISING;
  sConfig.IC2Selection = TIM_ICSELECTION_DIRECTTI;
  sConfig.IC2Prescaler = TIM_ICPSC_DIV1;
  sConfig.IC2Filter = 15;
  if (HAL_TIM_Encoder_Init(&htim4, &sConfig) != HAL_OK)
  {
    Error_Handler();
  }
  sMasterConfig.MasterOutputTrigger = TIM_TRGO_RESET;
  sMasterConfig.MasterSlaveMode = TIM_MASTERSLAVEMODE_DISABLE;
  if (HAL_TIMEx_MasterConfigSynchronization(&htim4, &sMasterConfig) != HAL_OK)
  {
    Error_Handler();
  }

}

static void MX_TIM5_Init(void)
{

  TIM_ClockConfigTypeDef sClockSourceConfig = {0};
  TIM_MasterConfigTypeDef sMasterConfig = {0};
  TIM_OC_InitTypeDef sConfigOC = {0};

  htim5.Instance = TIM5;
  htim5.Init.Prescaler = 0;
  htim5.Init.CounterMode = TIM_COUNTERMODE_UP;
  htim5.Init.Period = 4294967295;
  htim5.Init.ClockDivision = TIM_CLOCKDIVISION_DIV1;
  htim5.Init.AutoReloadPreload = TIM_AUTORELOAD_PRELOAD_DISABLE;
  if (HAL_TIM_Base_Init(&htim5) != HAL_OK)
  {
    Error_Handler();
  }
  sClockSourceConfig.ClockSource = TIM_CLOCKSOURCE_INTERNAL;
  if (HAL_TIM_ConfigClockSource(&htim5, &sClockSourceConfig) != HAL_OK)
  {
    Error_Handler();
  }
  if (HAL_TIM_PWM_Init(&htim5) != HAL_OK)
  {
    Error_Handler();
  }
  sMasterConfig.MasterOutputTrigger = TIM_TRGO_RESET;
  sMasterConfig.MasterSlaveMode = TIM_MASTERSLAVEMODE_DISABLE;
  if (HAL_TIMEx_MasterConfigSynchronization(&htim5, &sMasterConfig) != HAL_OK)
  {
    Error_Handler();
  }
  sConfigOC.OCMode = TIM_OCMODE_PWM1;
  sConfigOC.Pulse = 0;
  sConfigOC.OCPolarity = TIM_OCPOLARITY_HIGH;
  sConfigOC.OCFastMode = TIM_OCFAST_DISABLE;
  if (HAL_TIM_PWM_ConfigChannel(&htim5, &sConfigOC, TIM_CHANNEL_1) != HAL_OK)
  {
    Error_Handler();
  }
  HAL_TIM_MspPostInit(&htim5);

}

static void MX_TIM6_Init(void)
{

  TIM_MasterConfigTypeDef sMasterConfig = {0};

  htim6.Instance = TIM6;
  htim6.Init.Prescaler = TIM6_PSC_VALUE;
  htim6.Init.CounterMode = TIM_COUNTERMODE_UP;
  htim6.Init.Period = TIM6_ARR_VALUE;
  htim6.Init.AutoReloadPreload = TIM_AUTORELOAD_PRELOAD_DISABLE;
  if (HAL_TIM_Base_Init(&htim6) != HAL_OK)
  {
    Error_Handler();
  }
  sMasterConfig.MasterOutputTrigger = TIM_TRGO_RESET;
  sMasterConfig.MasterSlaveMode = TIM_MASTERSLAVEMODE_DISABLE;
  if (HAL_TIMEx_MasterConfigSynchronization(&htim6, &sMasterConfig) != HAL_OK)
  {
    Error_Handler();
  }

}

static void MX_TIM8_Init(void)
{

  TIM_ClockConfigTypeDef sClockSourceConfig = {0};
  TIM_MasterConfigTypeDef sMasterConfig = {0};
  TIM_OC_InitTypeDef sConfigOC = {0};
  TIM_BreakDeadTimeConfigTypeDef sBreakDeadTimeConfig = {0};

  htim8.Instance = TIM8;
  htim8.Init.Prescaler = TIM8_PSC_VALUE;
  htim8.Init.CounterMode = TIM_COUNTERMODE_UP;
  htim8.Init.Period = TIM8_ARR_VALUE;
  htim8.Init.ClockDivision = TIM_CLOCKDIVISION_DIV1;
  htim8.Init.RepetitionCounter = 0;
  htim8.Init.AutoReloadPreload = TIM_AUTORELOAD_PRELOAD_DISABLE;
  if (HAL_TIM_Base_Init(&htim8) != HAL_OK)
  {
    Error_Handler();
  }
  sClockSourceConfig.ClockSource = TIM_CLOCKSOURCE_INTERNAL;
  if (HAL_TIM_ConfigClockSource(&htim8, &sClockSourceConfig) != HAL_OK)
  {
    Error_Handler();
  }
  if (HAL_TIM_PWM_Init(&htim8) != HAL_OK)
  {
    Error_Handler();
  }
  sMasterConfig.MasterOutputTrigger = TIM_TRGO_RESET;
  sMasterConfig.MasterOutputTrigger2 = TIM_TRGO2_RESET;
  sMasterConfig.MasterSlaveMode = TIM_MASTERSLAVEMODE_DISABLE;
  if (HAL_TIMEx_MasterConfigSynchronization(&htim8, &sMasterConfig) != HAL_OK)
  {
    Error_Handler();
  }
  sConfigOC.OCMode = TIM_OCMODE_PWM1;
  sConfigOC.Pulse = 0;
  sConfigOC.OCPolarity = TIM_OCPOLARITY_HIGH;
  sConfigOC.OCNPolarity = TIM_OCNPOLARITY_HIGH;
  sConfigOC.OCFastMode = TIM_OCFAST_DISABLE;
  sConfigOC.OCIdleState = TIM_OCIDLESTATE_RESET;
  sConfigOC.OCNIdleState = TIM_OCNIDLESTATE_RESET;
  if (HAL_TIM_PWM_ConfigChannel(&htim8, &sConfigOC, TIM_CHANNEL_1) != HAL_OK)
  {
    Error_Handler();
  }
  if (HAL_TIM_PWM_ConfigChannel(&htim8, &sConfigOC, TIM_CHANNEL_2) != HAL_OK)
  {
    Error_Handler();
  }
  if (HAL_TIM_PWM_ConfigChannel(&htim8, &sConfigOC, TIM_CHANNEL_3) != HAL_OK)
  {
    Error_Handler();
  }
  if (HAL_TIM_PWM_ConfigChannel(&htim8, &sConfigOC, TIM_CHANNEL_4) != HAL_OK)
  {
    Error_Handler();
  }
  sBreakDeadTimeConfig.OffStateRunMode = TIM_OSSR_DISABLE;
  sBreakDeadTimeConfig.OffStateIDLEMode = TIM_OSSI_DISABLE;
  sBreakDeadTimeConfig.LockLevel = TIM_LOCKLEVEL_OFF;
  sBreakDeadTimeConfig.DeadTime = 0;
  sBreakDeadTimeConfig.BreakState = TIM_BREAK_DISABLE;
  sBreakDeadTimeConfig.BreakPolarity = TIM_BREAKPOLARITY_HIGH;
  sBreakDeadTimeConfig.BreakFilter = 0;
  sBreakDeadTimeConfig.Break2State = TIM_BREAK2_DISABLE;
  sBreakDeadTimeConfig.Break2Polarity = TIM_BREAK2POLARITY_HIGH;
  sBreakDeadTimeConfig.Break2Filter = 0;
  sBreakDeadTimeConfig.AutomaticOutput = TIM_AUTOMATICOUTPUT_DISABLE;
  if (HAL_TIMEx_ConfigBreakDeadTime(&htim8, &sBreakDeadTimeConfig) != HAL_OK)
  {
    Error_Handler();
  }
  HAL_TIM_MspPostInit(&htim8);

}

static void MX_TIM9_Init(void)
{

  TIM_OC_InitTypeDef sConfigOC = {0};

  htim9.Instance = TIM9;
  htim9.Init.Prescaler = 0;
  htim9.Init.CounterMode = TIM_COUNTERMODE_UP;
  htim9.Init.Period = 65535;
  htim9.Init.ClockDivision = TIM_CLOCKDIVISION_DIV1;
  htim9.Init.AutoReloadPreload = TIM_AUTORELOAD_PRELOAD_DISABLE;
  if (HAL_TIM_PWM_Init(&htim9) != HAL_OK)
  {
    Error_Handler();
  }
  sConfigOC.OCMode = TIM_OCMODE_PWM1;
  sConfigOC.Pulse = 0;
  sConfigOC.OCPolarity = TIM_OCPOLARITY_HIGH;
  sConfigOC.OCFastMode = TIM_OCFAST_DISABLE;
  if (HAL_TIM_PWM_ConfigChannel(&htim9, &sConfigOC, TIM_CHANNEL_1) != HAL_OK)
  {
    Error_Handler();
  }
  if (HAL_TIM_PWM_ConfigChannel(&htim9, &sConfigOC, TIM_CHANNEL_2) != HAL_OK)
  {
    Error_Handler();
  }
  HAL_TIM_MspPostInit(&htim9);

}

static void MX_UART4_Init(void)
{

  huart4.Instance = UART4;
  huart4.Init.BaudRate = 9600;
  huart4.Init.WordLength = UART_WORDLENGTH_8B;
  huart4.Init.StopBits = UART_STOPBITS_1;
  huart4.Init.Parity = UART_PARITY_NONE;
  huart4.Init.Mode = UART_MODE_TX_RX;
  huart4.Init.HwFlowCtl = UART_HWCONTROL_NONE;
  huart4.Init.OverSampling = UART_OVERSAMPLING_16;
  huart4.Init.OneBitSampling = UART_ONE_BIT_SAMPLE_DISABLE;
  huart4.AdvancedInit.AdvFeatureInit = UART_ADVFEATURE_NO_INIT;
  if (HAL_UART_Init(&huart4) != HAL_OK)
  {
    Error_Handler();
  }

}

static void MX_UART5_Init(void)
{

  huart5.Instance = UART5;
  huart5.Init.BaudRate = 115200;
  huart5.Init.WordLength = UART_WORDLENGTH_8B;
  huart5.Init.StopBits = UART_STOPBITS_1;
  huart5.Init.Parity = UART_PARITY_NONE;
  huart5.Init.Mode = UART_MODE_TX_RX;
  huart5.Init.HwFlowCtl = UART_HWCONTROL_NONE;
  huart5.Init.OverSampling = UART_OVERSAMPLING_16;
  huart5.Init.OneBitSampling = UART_ONE_BIT_SAMPLE_DISABLE;
  huart5.AdvancedInit.AdvFeatureInit = UART_ADVFEATURE_NO_INIT;
  if (HAL_UART_Init(&huart5) != HAL_OK)
  {
    Error_Handler();
  }

}

static void MX_USART1_UART_Init(void)
{

  huart1.Instance = USART1;
  huart1.Init.BaudRate = 115200;
  huart1.Init.WordLength = UART_WORDLENGTH_8B;
  huart1.Init.StopBits = UART_STOPBITS_1;
  huart1.Init.Parity = UART_PARITY_NONE;
  huart1.Init.Mode = UART_MODE_TX_RX;
  huart1.Init.HwFlowCtl = UART_HWCONTROL_NONE;
  huart1.Init.OverSampling = UART_OVERSAMPLING_16;
  huart1.Init.OneBitSampling = UART_ONE_BIT_SAMPLE_DISABLE;
  huart1.AdvancedInit.AdvFeatureInit = UART_ADVFEATURE_NO_INIT;
  if (HAL_UART_Init(&huart1) != HAL_OK)
  {
    Error_Handler();
  }

}

static void MX_USART2_UART_Init(void)
{

  huart2.Instance = USART2;
  huart2.Init.BaudRate = 1000000;
  huart2.Init.WordLength = UART_WORDLENGTH_8B;
  huart2.Init.StopBits = UART_STOPBITS_1;
  huart2.Init.Parity = UART_PARITY_NONE;
  huart2.Init.Mode = UART_MODE_TX_RX;
  huart2.Init.HwFlowCtl = UART_HWCONTROL_NONE;
  huart2.Init.OverSampling = UART_OVERSAMPLING_16;
  huart2.Init.OneBitSampling = UART_ONE_BIT_SAMPLE_DISABLE;
  huart2.AdvancedInit.AdvFeatureInit = UART_ADVFEATURE_NO_INIT;
  if (HAL_UART_Init(&huart2) != HAL_OK)
  {
    Error_Handler();
  }

}

static void MX_USART3_UART_Init(void)
{

  huart3.Instance = USART3;
  huart3.Init.BaudRate = 115200;
  huart3.Init.WordLength = UART_WORDLENGTH_8B;
  huart3.Init.StopBits = UART_STOPBITS_1;
  huart3.Init.Parity = UART_PARITY_NONE;
  huart3.Init.Mode = UART_MODE_TX_RX;
  huart3.Init.HwFlowCtl = UART_HWCONTROL_NONE;
  huart3.Init.OverSampling = UART_OVERSAMPLING_16;
  huart3.Init.OneBitSampling = UART_ONE_BIT_SAMPLE_DISABLE;
  huart3.AdvancedInit.AdvFeatureInit = UART_ADVFEATURE_NO_INIT;
  if (HAL_UART_Init(&huart3) != HAL_OK)
  {
    Error_Handler();
  }

}

static void MX_GPIO_Init(void)
{
  GPIO_InitTypeDef GPIO_InitStruct = {0};

  /* GPIO Ports Clock Enable */
  __HAL_RCC_GPIOE_CLK_ENABLE();
  __HAL_RCC_GPIOC_CLK_ENABLE();
  __HAL_RCC_GPIOF_CLK_ENABLE();
  __HAL_RCC_GPIOH_CLK_ENABLE();
  __HAL_RCC_GPIOA_CLK_ENABLE();
  __HAL_RCC_GPIOB_CLK_ENABLE();
  __HAL_RCC_GPIOD_CLK_ENABLE();
  __HAL_RCC_GPIOG_CLK_ENABLE();

  /*Configure GPIO pin Output Level */
  HAL_GPIO_WritePin(GPIOE, GPIO_OUT_SPI_CS_SDCARD_Pin|GPIO_OUT_SPI_CS_LCD_Pin, GPIO_PIN_RESET);

  /*Configure GPIO pin Output Level */
  HAL_GPIO_WritePin(GPIOB, LD1_Pin|LD3_Pin|LD2_Pin, GPIO_PIN_RESET);

  /*Configure GPIO pin Output Level */
  HAL_GPIO_WritePin(GPIOG, GPIO_PIN_6, GPIO_PIN_RESET);

  /*Configure GPIO pins : GPIO_OUT_SPI_CS_SDCARD_Pin GPIO_OUT_SPI_CS_LCD_Pin */
  GPIO_InitStruct.Pin = GPIO_OUT_SPI_CS_SDCARD_Pin|GPIO_OUT_SPI_CS_LCD_Pin;
  GPIO_InitStruct.Mode = GPIO_MODE_OUTPUT_PP;
  GPIO_InitStruct.Pull = GPIO_NOPULL;
  GPIO_InitStruct.Speed = GPIO_SPEED_FREQ_LOW;
  HAL_GPIO_Init(GPIOE, &GPIO_InitStruct);

  /*Configure GPIO pins : GPIO_EXTI2_PROXY_TOF_SENS_IRQ_Pin GPIO_EXTI3_IMU_IRQ_Pin GPIO_EXTI4_KPAD_IRQ_Pin GPIO_EXTI8_USER_BUT1_IRQ_Pin
                           GPIO_EXTI9_USER_BUT2_IRQ_Pin GPIO_EXTI10_BUMP1_IRQ_Pin GPIO_EXTI11_BUMP2_IRQ_Pin GPIO_EXTI12_BUMP3_IRQ_Pin
                           GPIO_EXTI13_BUMP4_IRQ_Pin */
  GPIO_InitStruct.Pin = GPIO_EXTI2_PROXY_TOF_SENS_IRQ_Pin|GPIO_EXTI3_IMU_IRQ_Pin|GPIO_EXTI4_KPAD_IRQ_Pin|GPIO_EXTI8_USER_BUT1_IRQ_Pin
                          |GPIO_EXTI9_USER_BUT2_IRQ_Pin|GPIO_EXTI10_BUMP1_IRQ_Pin|GPIO_EXTI11_BUMP2_IRQ_Pin|GPIO_EXTI12_BUMP3_IRQ_Pin
                          |GPIO_EXTI13_BUMP4_IRQ_Pin;
  GPIO_InitStruct.Mode = GPIO_MODE_IT_RISING;
  GPIO_InitStruct.Pull = GPIO_NOPULL;
  HAL_GPIO_Init(GPIOF, &GPIO_InitStruct);

  /*Configure GPIO pins : RMII_MDC_Pin RMII_RXD0_Pin RMII_RXD1_Pin */
  GPIO_InitStruct.Pin = RMII_MDC_Pin|RMII_RXD0_Pin|RMII_RXD1_Pin;
  GPIO_InitStruct.Mode = GPIO_MODE_AF_PP;
  GPIO_InitStruct.Pull = GPIO_NOPULL;
  GPIO_InitStruct.Speed = GPIO_SPEED_FREQ_VERY_HIGH;
  GPIO_InitStruct.Alternate = GPIO_AF11_ETH;
  HAL_GPIO_Init(GPIOC, &GPIO_InitStruct);

  /*Configure GPIO pins : RMII_REF_CLK_Pin RMII_MDIO_Pin RMII_CRS_DV_Pin */
  GPIO_InitStruct.Pin = RMII_REF_CLK_Pin|RMII_MDIO_Pin|RMII_CRS_DV_Pin;
  GPIO_InitStruct.Mode = GPIO_MODE_AF_PP;
  GPIO_InitStruct.Pull = GPIO_NOPULL;
  GPIO_InitStruct.Speed = GPIO_SPEED_FREQ_VERY_HIGH;
  GPIO_InitStruct.Alternate = GPIO_AF11_ETH;
  HAL_GPIO_Init(GPIOA, &GPIO_InitStruct);

  /*Configure GPIO pins : LD1_Pin LD3_Pin LD2_Pin */
  GPIO_InitStruct.Pin = LD1_Pin|LD3_Pin|LD2_Pin;
  GPIO_InitStruct.Mode = GPIO_MODE_OUTPUT_PP;
  GPIO_InitStruct.Pull = GPIO_NOPULL;
  GPIO_InitStruct.Speed = GPIO_SPEED_FREQ_LOW;
  HAL_GPIO_Init(GPIOB, &GPIO_InitStruct);

  /*Configure GPIO pin : RMII_TXD1_Pin */
  GPIO_InitStruct.Pin = RMII_TXD1_Pin;
  GPIO_InitStruct.Mode = GPIO_MODE_AF_PP;
  GPIO_InitStruct.Pull = GPIO_NOPULL;
  GPIO_InitStruct.Speed = GPIO_SPEED_FREQ_VERY_HIGH;
  GPIO_InitStruct.Alternate = GPIO_AF11_ETH;
  HAL_GPIO_Init(RMII_TXD1_GPIO_Port, &GPIO_InitStruct);

  /*Configure GPIO pin : PG6 */
  GPIO_InitStruct.Pin = GPIO_PIN_6;
  GPIO_InitStruct.Mode = GPIO_MODE_OUTPUT_PP;
  GPIO_InitStruct.Pull = GPIO_NOPULL;
  GPIO_InitStruct.Speed = GPIO_SPEED_FREQ_LOW;
  HAL_GPIO_Init(GPIOG, &GPIO_InitStruct);

  /*Configure GPIO pin : USB_OverCurrent_Pin */
  GPIO_InitStruct.Pin = USB_OverCurrent_Pin;
  GPIO_InitStruct.Mode = GPIO_MODE_INPUT;
  GPIO_InitStruct.Pull = GPIO_NOPULL;
  HAL_GPIO_Init(USB_OverCurrent_GPIO_Port, &GPIO_InitStruct);

  /*Configure GPIO pins : USB_SOF_Pin USB_ID_Pin USB_DM_Pin USB_DP_Pin */
  GPIO_InitStruct.Pin = USB_SOF_Pin|USB_ID_Pin|USB_DM_Pin|USB_DP_Pin;
  GPIO_InitStruct.Mode = GPIO_MODE_AF_PP;
  GPIO_InitStruct.Pull = GPIO_NOPULL;
  GPIO_InitStruct.Speed = GPIO_SPEED_FREQ_VERY_HIGH;
  GPIO_InitStruct.Alternate = GPIO_AF10_OTG_FS;
  HAL_GPIO_Init(GPIOA, &GPIO_InitStruct);

  /*Configure GPIO pin : USB_VBUS_Pin */
  GPIO_InitStruct.Pin = USB_VBUS_Pin;
  GPIO_InitStruct.Mode = GPIO_MODE_INPUT;
  GPIO_InitStruct.Pull = GPIO_NOPULL;
  HAL_GPIO_Init(USB_VBUS_GPIO_Port, &GPIO_InitStruct);

  /*Configure GPIO pins : RMII_TX_EN_Pin RMII_TXD0_Pin */
  GPIO_InitStruct.Pin = RMII_TX_EN_Pin|RMII_TXD0_Pin;
  GPIO_InitStruct.Mode = GPIO_MODE_AF_PP;
  GPIO_InitStruct.Pull = GPIO_NOPULL;
  GPIO_InitStruct.Speed = GPIO_SPEED_FREQ_VERY_HIGH;
  GPIO_InitStruct.Alternate = GPIO_AF11_ETH;
  HAL_GPIO_Init(GPIOG, &GPIO_InitStruct);

}

void Error_Handler(void)
{
  __disable_irq();
  while (1)
  {
  }
}
